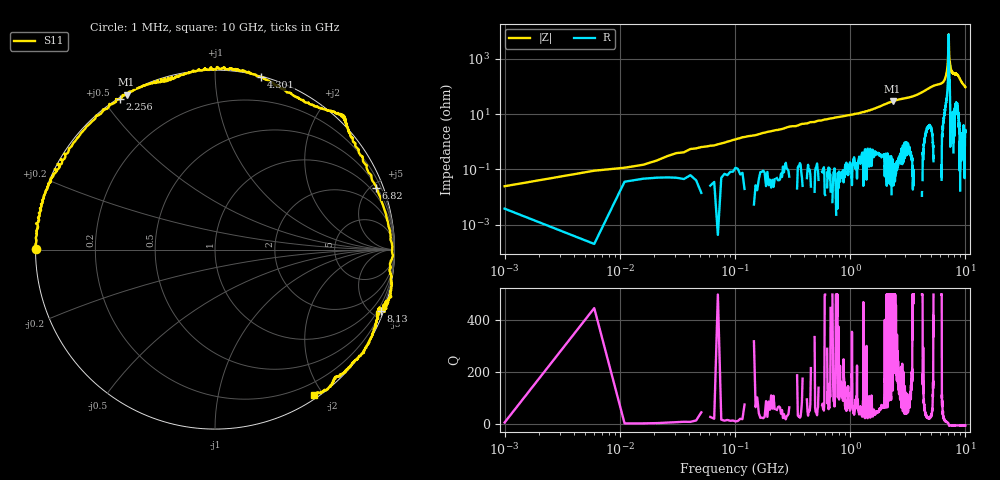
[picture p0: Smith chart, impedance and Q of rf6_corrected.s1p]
! Created with skrf 1.8.0 (http://scikit-rf.org).
# GHz S RI R 50.0
!freq ReS11 ImS11
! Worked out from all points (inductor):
!   2001 points, 1 MHz to 10 GHz, reference 50 ohm
!   read as one part to ground: L = 1.86 nH near 50.99 MHz
!   highest Q = 631 at 2.336 GHz (marker M1), where L = 1.98 nH
!   self-resonance near 7.165 GHz
!   S11 on the Smith chart (normalised r, x): 1 MHz: 0.00, +0.00; 2.256 GHz: 0.01, +0.55; 4.301 GHz: 0.01, +1.30; 6.82 GHz: 0.57, +5.33; 8.13 GHz: 0.23, -5.58; 10 GHz: 0.05, -1.89
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0.001  -0.9998 0.000963
0.5659435  -0.9727 0.233
1.250875  -0.8928 0.4241
1.720828  -0.774 0.612
2.255774  -0.5295 0.8381
2.335767  -0.4926 0.8628
2.50075  -0.4226 0.9034
3.370663  -0.1732 0.9783
3.750625  -0.0244 1.014
4.005599  0.1065 1.001
4.30057  0.2582 0.9606
5.0005  0.5438 0.8076
5.555445  0.6864 0.7576
5.955405  0.7248 0.7177
6.250375  0.7416 0.6608
6.565343  0.8114 0.5236
6.820318  0.8979 0.3454
7.050295  0.9718 0.1149
7.225277  0.9841 -0.0563
7.50025  0.9783 -0.2391
7.710229  0.9507 -0.3009
8.130187  0.9243 -0.3418
8.445156  0.9133 -0.3422
8.750125  0.8949 -0.42
9.040096  0.8507 -0.5296
9.390061  0.7473 -0.6539
9.790021  0.648 -0.7512
10  0.5516 -0.8094
